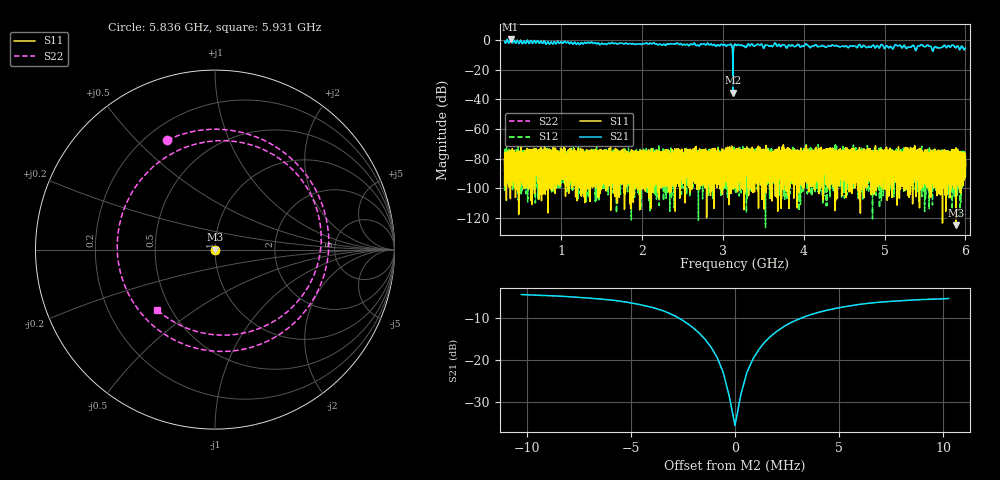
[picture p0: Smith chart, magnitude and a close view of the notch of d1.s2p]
!Agilent Technologies,N5230C,SG49000117,A.08.50.07
!Agilent N5230C: A.08.50.07
!Date: Sunday, March 17, 2024 01:26:37
!Correction: S11(Off)
!S21(Off)
!S12(Off)
!S22(Off)
!S2P File: Measurements: S11, S21, S12, S22:
# Hz S  RI  R 50
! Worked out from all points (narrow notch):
!   20001 points, 300 MHz to 6 GHz, reference 50 ohm
!   highest |S21| = 0.47 dB at 374.4 MHz (marker M1); lowest = -35.6 dB at 3.124 GHz (marker M2)
!   notch at M2: 32.2 dB deep, 1.75 MHz wide at half that depth
!   lowest |S11| = -125.1 dB at 5.883 GHz (marker M3), VSWR 1.00, Z = 50 - j2.71e-05 ohm
!   |S11| at or under -10 dB: start of sweep to end of sweep
!   |S22| runs from -35.5 to 0.5 dB; largest |S21 - S12| = 1.1
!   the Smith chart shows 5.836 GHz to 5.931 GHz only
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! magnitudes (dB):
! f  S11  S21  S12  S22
! 300 MHz  -79.3  -0.9  -74.7  -0.9
! 328.8 MHz  -76.0  0.1  -84.4  0.1
! 374.4 MHz  -84.4  0.5  -89.2  0.5
! 1.25 GHz  -81.6  -1.7  -88.7  -1.7
! 2.2 GHz  -99.0  -3.5  -82.0  -3.5
! 3.081 GHz  -80.5  -3.4  -83.7  -3.4
! 3.124 GHz  -94.1  -35.6  -86.1  -35.5
! 3.15 GHz  -82.7  -3.0  -80.7  -3.0
! 3.17 GHz  -78.9  -3.9  -79.8  -3.8
! 3.269 GHz  -87.0  -4.3  -79.4  -4.2
! 3.335 GHz  -78.0  -4.1  -79.5  -4.0
! 3.976 GHz  -78.3  -4.1  -80.9  -4.0
! 4.033 GHz  -77.7  -2.8  -78.1  -2.7
! 4.1 GHz  -90.0  -4.3  -82.8  -4.1
! 5.05 GHz  -91.6  -5.4  -81.8  -5.3
! 5.159 GHz  -79.9  -4.1  -81.8  -4.1
! 5.393 GHz  -89.4  -6.5  -83.1  -6.5
! 5.453 GHz  -82.9  -3.4  -79.2  -3.4
! 5.548 GHz  -76.9  -4.1  -80.3  -4.1
! 5.608 GHz  -82.7  -6.2  -87.7  -6.2
! 5.883 GHz  -125.1  -5.2  -79.8  -5.3
! 6 GHz  -78.5  -5.6  -92.1  -5.6
